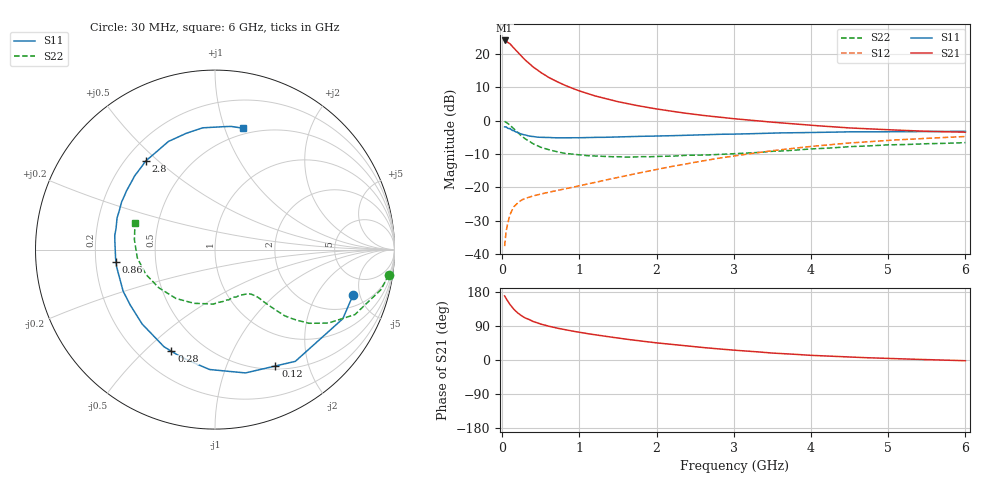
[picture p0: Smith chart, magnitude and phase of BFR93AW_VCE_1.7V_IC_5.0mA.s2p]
! Infineon Technologies  Discrete & RF Semiconductors
! BFR93AW
! VCE =  1.7 V,  IC =  5.0 mA
! Common Emitter S-Parameters:  Nov 2015
# GHz  S  MA  R  50
!  f  S11  S21  S12  S22
! GHz  MAG  ANG  MAG  ANG  MAG  ANG  MAG  ANG
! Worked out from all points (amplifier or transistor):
!   206 points, 30 MHz to 6 GHz, reference 50 ohm
!   highest |S21| = 24.1 dB at 30 MHz (marker M1)
!   |S21| within 3 dB of that: start of sweep to 179.3 MHz
!   unconditionally stable (mu >= 1): 930.5 MHz to 2.519 GHz
!   at 200 MHz: K = 0.31, MSG = 22.6 dB, |S12| = -24.6 dB
!   at 1.56 GHz: K = 1.11, MAG = 9.0 dB, |S12| = -16.7 dB
!   at 6 GHz: K = 0.97, MSG = 0.6 dB, |S12| = -4.7 dB
!   S11 on the Smith chart (normalised r, x): 30 MHz: 2.94, -4.31; 120 MHz: 0.54, -1.51; 280 MHz: 0.33, -0.61; 860 MHz: 0.29, -0.06; 2.8 GHz: 0.28, +0.46; 6 GHz: 0.45, +1.16
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0.03  0.8096 -18.2  15.95 169.2  0.0132 79.2  0.9784 -8.3
0.05  0.8097 -28.4  15.7 161.8  0.0219 74.8  0.9511 -13.6
0.1  0.7668 -54.3  14.21 146.2  0.0392 64.4  0.8597 -24.9
0.12  0.7306 -62.6  13.37 141.6  0.044 60.1  0.8157 -27.8
0.15  0.7078 -76.1  12.3 133.5  0.0515 55.1  0.7543 -32.8
0.2  0.6687 -92.6  10.64 124.1  0.0587 49.9  0.6653 -38.1
0.24  0.6348 -103.7  9.472 118.1  0.0636 46.6  0.6042 -40.7
0.28  0.6161 -113.2  8.508 113.1  0.0672 44.9  0.5556 -42.7
0.3  0.6113 -117.7  8.066 110.6  0.0687 44.3  0.5334 -43.6
0.4  0.5802 -134.4  6.381 101.5  0.0748 42.7  0.4514 -45.6
0.5  0.5643 -146.7  5.274 94.6  0.0797 42.6  0.3995 -46.9
0.6  0.562 -155.6  4.467 89.2  0.0849 43.7  0.3675 -47.6
0.7  0.5548 -163.2  3.894 84.5  0.0894 45.4  0.3452 -48.7
0.86  0.5557 -172.9  3.221 78.1  0.098 48.5  0.3202 -51.0
1.04  0.5569 178.4  2.698 71.7  0.1088 51.4  0.3042 -54.2
1.5  0.5735 162.0  1.928 57.9  0.1414 57.4  0.2895 -65.7
2.02  0.5915 146.7  1.489 44.8  0.1884 60.0  0.2925 -81.3
2.8  0.6267 128.1  1.135 29.3  0.274 57.9  0.3124 -105.4
3.1  0.6338 121.5  1.047 24.6  0.3074 55.6  0.324 -114.9
4.1  0.6692 102.3  0.839 11.4  0.4222 45.0  0.3824 -148.8
5.1  0.6849 87.4  0.725 3.3  0.5157 32.4  0.437 -176.7
6  0.694 76.8  0.674 -1.9  0.5805 21.7  0.4701 161.4
